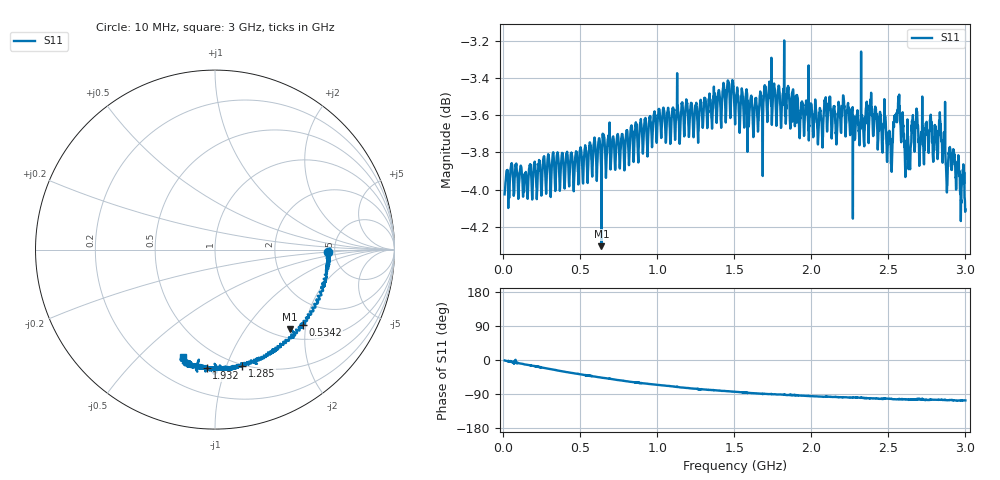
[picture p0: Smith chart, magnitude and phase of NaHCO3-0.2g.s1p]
# HZ S RI R 50
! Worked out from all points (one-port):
!   2020 points, 10 MHz to 3 GHz, reference 50 ohm
!   lowest |S11| = -4.3 dB at 637.9 MHz (marker M1), VSWR 4.12, Z = 58.9 - j82.9 ohm
!   |S11| at or under -10 dB: nowhere
!   S11 on the Smith chart (normalised r, x): 10 MHz: 4.38, -0.19; 534.2 MHz: 1.33, -1.93; 1.285 GHz: 0.49, -1.14; 1.932 GHz: 0.37, -0.86; 3 GHz: 0.35, -0.68
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1e7  0.629 -0.013
7.071817e7  0.6275 -0.0462
1.951164e8  0.6133 -0.1704
3.846755e8  0.5591 -0.3217
5.342496e8  0.4917 -0.4209
6.379147e8  0.4187 -0.4427
7.578702e8  0.3793 -0.5146
9.044823e8  0.3129 -0.5682
1.132546e9  0.2126 -0.6298
1.285082e9  0.1508 -0.6488
1.50574e9  0.0697 -0.6533
1.676047e9  0.0155 -0.6674
1.878935e9  -0.0318 -0.6699
1.932248e9  -0.0464 -0.6604
2.067013e9  -0.0759 -0.6535
2.25361e9  -0.1024 -0.6463
2.301e9  -0.1039 -0.6507
2.453536e9  -0.1437 -0.6416
2.489078e9  -0.1332 -0.6347
2.515735e9  -0.1392 -0.6312
2.564606e9  -0.1574 -0.6481
2.626805e9  -0.1544 -0.6337
2.663828e9  -0.1686 -0.6341
2.705294e9  -0.1444 -0.6308
2.742318e9  -0.1736 -0.6315
2.835616e9  -0.1707 -0.6363
2.946686e9  -0.1886 -0.6108
3e9  -0.1788 -0.5971
